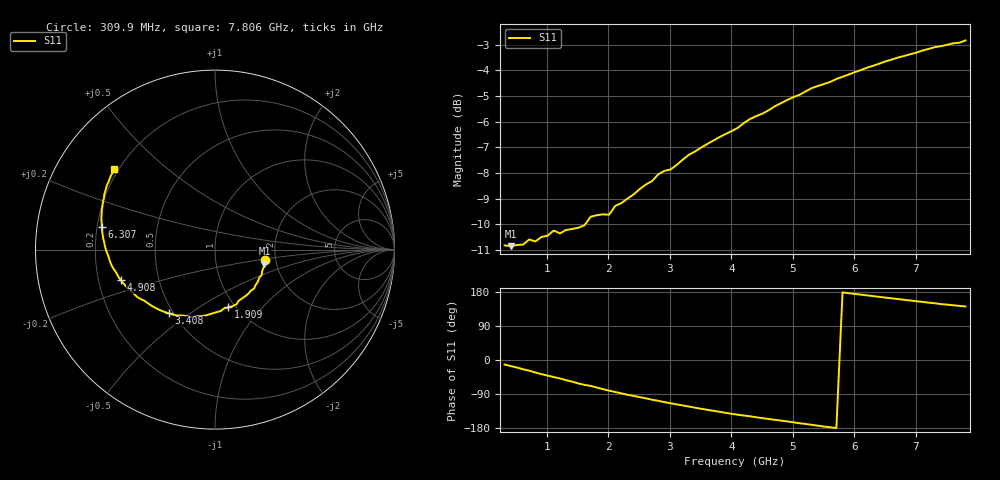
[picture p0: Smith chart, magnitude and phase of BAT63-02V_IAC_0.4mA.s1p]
! Infineon Technologies  Discrete & RF Semiconductors
! BAT63-02V
! IAC = 0.4 mA
! One-Port S-Parameters
# Hz  S  MA  R  50
!f  S11
!Hz  Mag  Ang
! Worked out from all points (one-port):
!   76 points, 309.9 MHz to 7.806 GHz, reference 50 ohm
!   lowest |S11| = -10.9 dB at 409.8 MHz (marker M1), VSWR 1.80, Z = 86.4 - j14.9 ohm
!   |S11| at or under -10 dB: start of sweep to 1.621 GHz
!   S11 on the Smith chart (normalised r, x): 309.9 MHz: 1.76, -0.23; 1.909 GHz: 0.93, -0.67; 3.408 GHz: 0.47, -0.42; 4.908 GHz: 0.30, -0.14; 6.307 GHz: 0.22, +0.10; 7.806 GHz: 0.18, +0.34
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3.0985e8  0.2876 -12.1
4.098e8  0.2866 -16.0
6.097e8  0.2887 -24.3
7.0965e8  0.2953 -28.3
8.096e8  0.2928 -32.9
1.10945e9  0.3075 -45.0
1.2094e9  0.3035 -48.6
1.30935e9  0.3082 -53.2
1.6092e9  0.3148 -65.6
1.70915e9  0.327 -68.4
1.90905e9  0.3306 -76.9
2.009e9  0.3301 -80.8
2.10895e9  0.3434 -84.5
2.2089e9  0.3477 -88.0
2.8086e9  0.3956 -107.7
3.2084e9  0.4227 -119.9
3.4083e9  0.4384 -125.8
3.8081e9  0.4676 -136.7
4.10795e9  0.4878 -144.6
4.30785e9  0.5074 -148.7
4.90755e9  0.5521 -162.1
5.0075e9  0.5593 -164.3
5.4073e9  0.5882 -173.3
6.007e9  0.6255 174.4
6.30685e9  0.6438 168.5
6.90655e9  0.6778 157.1
7.4063e9  0.7028 147.6
7.8061e9  0.7211 141.2
